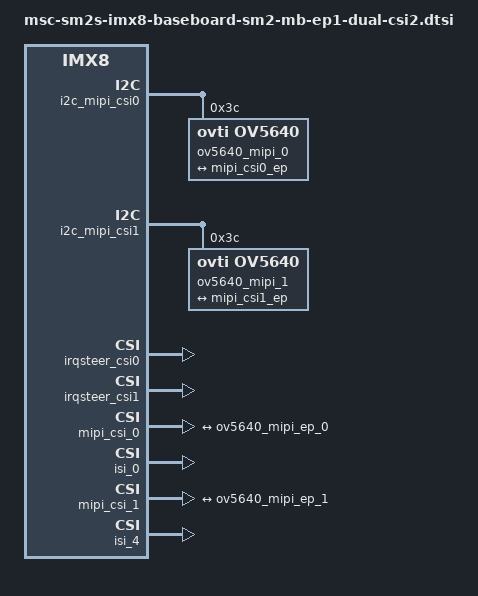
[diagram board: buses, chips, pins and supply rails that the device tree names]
/** @file      msc-sm2s-imx8-baseboard-sm2-mb-ep1-dual-csi2.dtsi

    @copyright Copyright (C) 2020 by MSC Technologies GmbH
    SPDX-License Identifier: GPL-2.0-or-later

    @author    Markus Pietrek

    @details   Provides baseboard mappings that are merged at runtime with the CPU device tree.
*/

/dts-v1/;
/plugin/;

#include "msc-sm2s-imx8-baseboard-sm2-mb-ep1.dtsi"

/ {
	fragment@7 {
		target = <&i2c_mipi_csi0>;
		__overlay__ {
			#address-cells = <1>;
			#size-cells = <0>;
			status = "okay";
			pinctrl-names = "default";
			pinctrl-0 = <&pinctrl_i2c_mipi_csi0>;
			ov5640_mipi_0: ov5640_mipi@3c {
					compatible = "ovti,ov5640";
					reg = <0x3c>;
					clocks = <&xtal24m>;
					clock-names = "xclk";
					csi_id = <0>;
					mclk = <24000000>;
					mclk_source = <0>;
					mipi_csi;
					status = "okay";
					port {
						ov5640_mipi_ep_0: endpoint {
							remote-endpoint = <&mipi_csi0_ep>;
							data-lanes = <1 2>;
							clocks-lanes = <0>;
						};
					};
			};

		};
	};

	fragment@8 {
		target = <&i2c_mipi_csi1>;
		__overlay__ {
			#address-cells = <1>;
			#size-cells = <0>;
			status = "okay";
			pinctrl-names = "default";
			pinctrl-0 = <&pinctrl_i2c_mipi_csi1>;
			ov5640_mipi_1: ov5640_mipi@3c {
				compatible = "ovti,ov5640";
				reg = <0x3c>;
				clocks = <&xtal24m>;
				clock-names = "xclk";
				csi_id = <0>;
				mclk = <24000000>;
				mclk_source = <0>;
				mipi_csi;
				status = "okay";
				port {
					ov5640_mipi_ep_1: endpoint {
						remote-endpoint = <&mipi_csi1_ep>;
						data-lanes = <1 2>;
						clocks-lanes = <0>;
					};
				};
			};
		};
	};

	fragment@9 {
		target = <&irqsteer_csi0>;
		__overlay__ {
			status = "okay";
		};
	};

	fragment@10 {
		target = <&irqsteer_csi1>;
		__overlay__ {
			status = "okay";
		};
	};

	fragment@11 {
		target = <&mipi_csi_0>;
		__overlay__  {
			#address-cells = <1>;
			#size-cells = <0>;
			/delete-property/virtual-channel;
			status = "okay";

			/* Camera 0  MIPI CSI-2 (CSIS0) */
			port@0 {
				reg = <0>;
				mipi_csi0_ep: endpoint {
					remote-endpoint = <&ov5640_mipi_ep_0>;
					data-lanes = <1 2>;
					bus-type = <4>;
				};
			};
		};
	};

	fragment@12 {
		target = <&isi_0>;
		__overlay__ {
			status = "okay";

			cap_device {
				status = "okay";
			};

			m2m_device {
				status = "okay";
			};
		};
	};

	fragment@13 {
		target = <&mipi_csi_1>;
		__overlay__  {
			#address-cells = <1>;
			#size-cells = <0>;
			/delete-property/virtual-channel;
			status = "okay";

			/* Camera 1  MIPI CSI-2 (CSIS1) */
			port@1 {
				reg = <1>;
				mipi_csi1_ep: endpoint {
					remote-endpoint = <&ov5640_mipi_ep_1>;
					data-lanes = <1 2>;
					bus-type = <4>;				};
			};
		};
	};

	fragment@14 {
		target = <&isi_4>;
		__overlay__ {
			status = "okay";

			cap_device {
				status = "okay";
			};

			m2m_device {
				status = "okay";
			};
		};
	};

};
